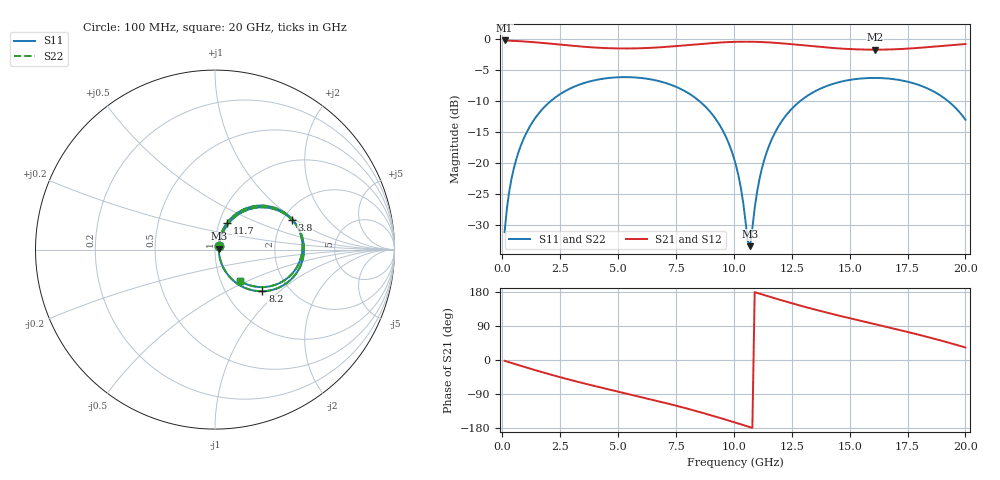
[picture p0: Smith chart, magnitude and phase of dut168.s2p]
! Touchstone file exported from HFSS 2026.1.0
!  File:  C:/ffzhzh/LocalFiles/Ansys_Project_Files/temp_train_TSV_RDL_168_1783054829_45820.aedt
!  Generated:  01:14:50 PM Jul  3, 2026
!  Design:  TSV_RDL
!  Project:  temp_train_TSV_RDL_168_1783054829_45820
! Variables:
!  h_bsmrdl = 3.91um
!  h_ox = 20um
!  h_rdl = 5um
!  h_sub = 53.22um
!  h_tmrdl = 2.87um
!  h_tsv = 53.22um
!  h_via = 3um
!  l_bsmrdl = 987.75um
!  l_sub = 5922.08um
!  l_tmrdl = 595.72um
!  m_sub = 200um
!  pitch = 56.87um
!  r_tsv = 14.99um
!  s_tmrdl = 10um
!  w_bsmrdl = 29.9um
!  w_sub = 500um
!  w_tmrdl = 28.75um
!  x_tsv_center1 = 610.095um
!  x_tsv_center2 = 1627.745um
!  x_tsv_center3 = 2252.215um
!  x_tsv_center4 = 3269.865um
!  x_tsv_center5 = 3894.335um
!  x_tsv_center6 = 4911.985um
# GHz S MA R 50.000000
! Terminal data exported
! Port[1] = TM_RDL1_1_T1
! Port[2] = TM_RDL5_1_T1
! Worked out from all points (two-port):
!   200 points, 100 MHz to 20 GHz, reference 50 ohm
!   highest |S21| = -0.18 dB at 100 MHz (marker M1); lowest = -1.7 dB at 16.1 GHz (marker M2)
!   |S21| within 3 dB of the highest: start of sweep to end of sweep
!   lowest |S11| = -33.4 dB at 10.7 GHz (marker M3), VSWR 1.04, Z = 52.1 + j0.587 ohm
!   |S11| at or under -10 dB: start of sweep to 2.081 GHz; 8.522 GHz to 12.85 GHz (4.331 GHz wide, 40.5 % of centre); 19.26 GHz to end of sweep
!   |S22| runs from -33.3 to -6.1 dB; largest |S21 - S12| = 1.7e-14
!   S11 on the Smith chart (normalised r, x): 100 MHz: 1.04, +0.04; 3.8 GHz: 2.22, +0.94; 8.2 GHz: 1.47, -0.78; 11.7 GHz: 1.09, +0.34; 20 GHz: 1.23, -0.46
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0.1  0.02784 41.5  0.9796 -2.0  0.9796 -2.0  0.02784 41.5
! Gamma 0 0 0 0
! Port Impedance 50 0 50 0
0.3  0.05917 61.4  0.9758 -5.9  0.9758 -5.9  0.05917 61.4
0.5  0.0912 64.8  0.9719 -9.7  0.9719 -9.7  0.0912 64.8
1.1  0.1847 61.0  0.9572 -20.9  0.9572 -20.9  0.1847 61.0
2.1  0.3186 46.7  0.9221 -38.7  0.9221 -38.7  0.3186 46.7
3.5  0.4421 25.8  0.8719 -61.3  0.8719 -61.3  0.4421 25.8
3.8  0.4588 21.4  0.8636 -65.8  0.8636 -65.8  0.4588 21.4
5.3  0.4957 0.5  0.8439 -87.7  0.8439 -87.7  0.4957 0.5
6.8  0.4584 -20.5  0.8624 -109.6  0.8624 -109.6  0.4584 -20.5
8.2  0.3515 -41.3  0.9054 -131.8  0.9054 -131.8  0.3515 -41.3
9.4  0.2015 -59.3  0.943 -152.9  0.943 -152.9  0.2015 -59.3
10.1  0.09494 -65.3  0.9554 -165.9  0.9554 -165.9  0.09498 -65.2
10.4  0.0486 -58.2  0.9573 -171.5  0.9573 -171.5  0.0487 -57.9
10.6  0.02356 -25.4  0.9574 -175.3  0.9574 -175.3  0.02377 -25.1
10.7  0.02141 15.2  0.957 -177.2  0.957 -177.2  0.02165 15.1
11.1  0.07346 67.2  0.9529 175.2  0.9529 175.2  0.07354 67.1
11.7  0.1653 65.6  0.9401 164.1  0.9401 164.1  0.1654 65.5
13.4  0.3716 41.1  0.8804 134.8  0.8804 134.8  0.3716 41.1
16.1  0.4883 3.3  0.8254 94.5  0.8254 94.5  0.4883 3.3
16.7  0.4819 -4.8  0.8285 85.8  0.8285 85.8  0.482 -4.8
18.5  0.3907 -30.0  0.8689 58.6  0.8689 58.6  0.3908 -29.9
20  0.2245 -51.3  0.9169 33.1  0.9169 33.1  0.2247 -51.0
